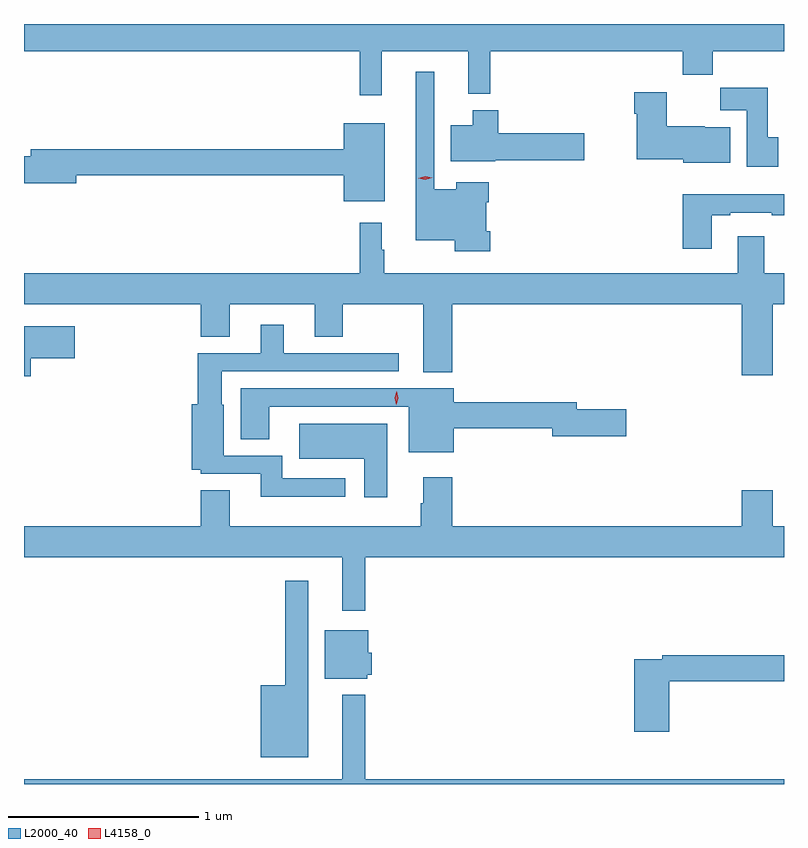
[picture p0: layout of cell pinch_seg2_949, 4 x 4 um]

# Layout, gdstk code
import gdstk
lib = gdstk.Library(unit=1e-6, precision=1e-09)
def P(c, l, *ps):  # polygons
    for p in ps: c.add(gdstk.Polygon(p, *l))
L2000_40 = (2000, 40)
L4158_0 = (4158, 0)

pinch_seg2_949 = lib.new_cell('pinch_seg2_949')
P(pinch_seg2_949, L2000_40, [(342.935,659.624),(343.388,659.624),(343.388,659.399),(343.505,659.399),(343.505,659.624),(344.519,659.624),(344.519,659.5),(344.675,659.5),(344.675,659.624),(345.051,659.624),(345.051,659.767),(341.051,659.767),(341.051,659.624),(342.817,659.624),(342.817,659.391),(342.935,659.391)],
  [(343.505,658.675),(343.483,658.675),(343.483,658.829),(343.496,658.829),(343.496,658.933),(343.325,658.933),(343.325,658.897),(343.209,658.897),(343.209,659.515),(343.112,659.515),(343.112,658.628),(343.318,658.628),(343.318,658.571),(343.505,658.571)],
  [(345.022,659.172),(344.965,659.172),(344.965,659.431),(344.716,659.431),(344.716,659.312),(344.855,659.312),(344.855,659.016),(345.022,659.016)],
  [(344.767,659.224),(344.634,659.224),(344.634,659.23),(344.434,659.23),(344.434,659.407),(344.264,659.407),(344.264,659.294),(344.276,659.294),(344.276,659.054),(344.52,659.054),(344.52,659.036),(344.767,659.036)],
  [(343.53,659.051),(343.999,659.051),(343.999,659.193),(343.547,659.193),(343.547,659.314),(343.412,659.314),(343.412,659.233),(343.298,659.233),(343.298,659.045),(343.53,659.045)],
  [(342.949,659.245),(342.734,659.245),(342.734,659.108),(341.087,659.108),(341.087,659.072),(341.051,659.072),(341.051,658.93),(341.326,658.93),(341.326,658.972),(342.734,658.972),(342.734,658.835),(342.949,658.835)],
  [(344.671,658.761),(344.767,658.761),(344.767,658.773),(344.987,658.773),(344.987,658.761),(345.051,658.761),(345.051,658.87),(344.519,658.87),(344.519,658.584),(344.671,658.584)],
  [(344.992,658.292),(345.051,658.292),(345.051,658.456),(344.947,658.456),(344.947,658.651),(344.807,658.651),(344.807,658.456),(342.946,658.456),(342.946,658.58),(342.934,658.58),(342.934,658.72),(342.817,658.72),(342.817,658.456),(341.051,658.456),(341.051,658.292),(341.981,658.292),(341.981,658.12),(342.133,658.12),(342.133,658.292),(342.581,658.292),(342.581,658.12),(342.729,658.12),(342.729,658.292),(343.151,658.292),(343.151,657.935),(343.304,657.935),(343.304,658.292),(344.828,658.292),(344.828,657.918),(344.992,657.918)],
  [(342.742,657.375),(342.409,657.375),(342.409,657.495),(342.103,657.495),(342.103,657.762),(342.091,657.762),(342.091,657.939),(343.024,657.939),(343.024,658.035),(342.418,658.035),(342.418,658.183),(342.296,658.183),(342.296,658.035),(341.966,658.035),(341.966,657.766),(341.933,657.766),(341.933,657.422),(341.982,657.422),(341.982,657.399),(342.296,657.399),(342.296,657.278),(342.742,657.278)],
  [(341.086,658.007),(341.317,658.007),(341.317,658.177),(341.051,658.177),(341.051,657.914),(341.086,657.914)],
  [(343.312,657.64),(343.832,657.64),(343.832,657.598),(344.221,657.598),(344.221,657.74),(343.96,657.74),(343.96,657.776),(343.312,657.776),(343.312,657.849),(342.191,657.849),(342.191,657.582),(342.343,657.582),(342.343,657.753),(343.076,657.753),(343.076,657.512),(343.312,657.512)],
  [(342.964,657.664),(342.5,657.664),(342.5,657.479),(342.842,657.479),(342.842,657.276),(342.964,657.276)],
  [(342.847,656.96),(345.051,656.96),(345.051,657.124),(344.992,657.124),(344.992,657.313),(344.828,657.313),(344.828,657.124),(343.304,657.124),(343.304,657.382),(343.151,657.382),(343.151,657.245),(343.139,657.245),(343.139,657.124),(342.133,657.124),(342.133,657.314),(341.981,657.314),(341.981,657.124),(341.051,657.124),(341.051,656.96),(342.725,656.96),(342.725,656.679),(342.847,656.679)],
  [(342.547,656.836),(342.426,656.836),(342.426,656.287),(342.296,656.287),(342.296,655.907),(342.547,655.907)],
  [(342.858,656.343),(342.88,656.343),(342.88,656.457),(342.862,656.457),(342.862,656.575),(342.635,656.575),(342.635,656.321),(342.858,656.321)],
  [(344.447,656.308),(345.051,656.308),(345.051,656.444),(344.41,656.444),(344.41,656.424),(344.264,656.424),(344.264,656.043),(344.447,656.043)],
  [(345.051,655.792),(342.847,655.792),(342.847,656.236),(342.725,656.236),(342.725,655.792),(341.051,655.792),(341.051,655.767),(345.051,655.767)])
P(pinch_seg2_949, L4158_0, [(343.164,658.947),(343.127,658.955),(343.127,658.955),(343.127,658.955),(343.163,658.967),(343.199,658.958),(343.199,658.958),(343.199,658.958)],
  [(343.011,657.763),(343.011,657.763),(343.003,657.799),(343.014,657.835),(343.014,657.835),(343.014,657.835),(343.022,657.798),(343.011,657.763)])

lib.write_gds('pinch_seg2_949.gds')
